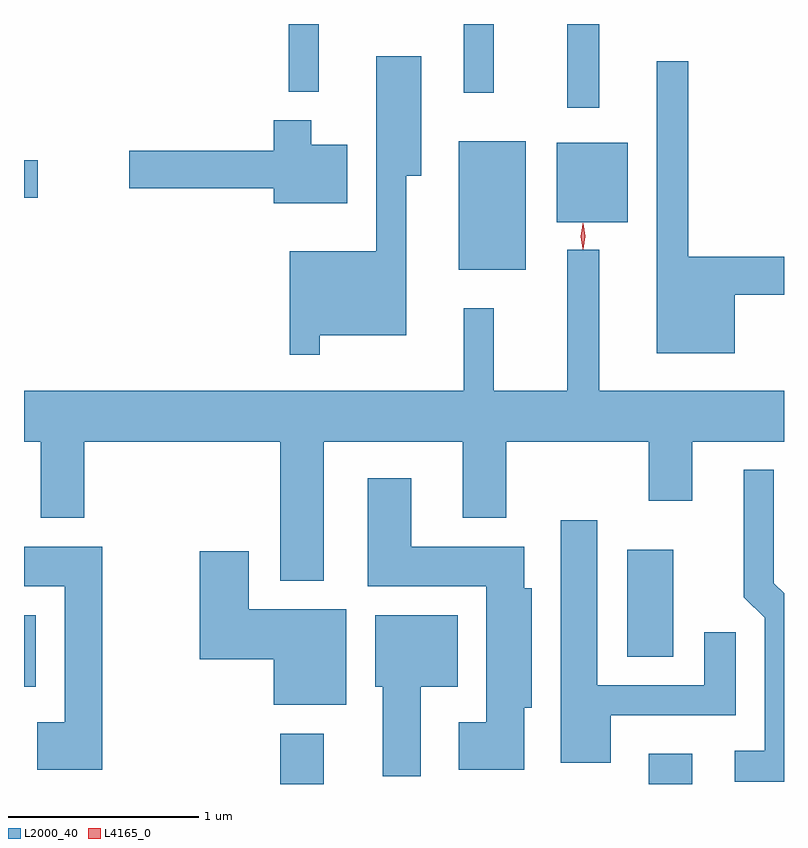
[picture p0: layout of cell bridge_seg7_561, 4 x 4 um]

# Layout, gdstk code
import gdstk
lib = gdstk.Library(unit=1e-6, precision=1e-09)
def R(c, l, rs):  # rectangles x0, y0, x1, y1
    for r in rs: c.add(gdstk.rectangle(r[:2], r[2:], *l))
def P(c, l, *ps):  # polygons
    for p in ps: c.add(gdstk.Polygon(p, *l))
L2000_40 = (2000, 40)
L4165_0 = (4165, 0)

bridge_seg7_561 = lib.new_cell('bridge_seg7_561')
R(bridge_seg7_561, L2000_40, [(980.851,1743.595,981.079,1743.859), (982.791,1743.595,983.019,1743.754), (979.502,1744.106,979.564,1744.484), (982.676,1744.266,982.919,1744.829), (981.791,1746.301,982.144,1746.979), (982.306,1746.551,982.679,1746.969), (979.502,1746.681,979.574,1746.879), (982.361,1747.153,982.529,1747.595), (981.816,1747.233,981.974,1747.595), (980.896,1747.238,981.054,1747.595)])
P(bridge_seg7_561, L2000_40, [(981.059,1745.956),(981.514,1745.956),(981.514,1746.796),(981.594,1746.796),(981.594,1747.424),(981.356,1747.424),(981.356,1746.399),(980.901,1746.399),(980.901,1745.853),(981.059,1745.853)],
  [(983.244,1746.171),(983.502,1746.171),(983.502,1746.369),(982.999,1746.369),(982.999,1747.398),(982.831,1747.398),(982.831,1745.861),(983.244,1745.861)],
  [(981.204,1746.959),(981.014,1746.959),(981.014,1747.089),(980.816,1747.089),(980.816,1746.929),(980.056,1746.929),(980.056,1746.731),(980.816,1746.731),(980.816,1746.651),(981.204,1746.651)],
  [(981.079,1745.396),(981.811,1745.396),(981.811,1744.996),(982.039,1744.996),(982.039,1745.396),(982.791,1745.396),(982.791,1745.086),(983.019,1745.086),(983.019,1745.396),(983.502,1745.396),(983.502,1745.664),(982.529,1745.664),(982.529,1746.408),(982.361,1746.408),(982.361,1745.664),(981.974,1745.664),(981.974,1746.098),(981.816,1746.098),(981.816,1745.664),(979.502,1745.664),(979.502,1745.396),(979.591,1745.396),(979.591,1744.996),(979.819,1744.996),(979.819,1745.396),(980.851,1745.396),(980.851,1744.666),(981.079,1744.666)],
  [(983.502,1744.599),(983.449,1744.652),(983.449,1745.248),(983.291,1745.248),(983.291,1744.579),(983.401,1744.469),(983.401,1743.769),(983.243,1743.769),(983.243,1743.606),(983.502,1743.606)],
  [(982.134,1743.996),(982.174,1743.996),(982.174,1744.624),(982.134,1744.624),(982.134,1744.844),(981.539,1744.844),(981.539,1745.204),(981.311,1745.204),(981.311,1744.636),(981.936,1744.636),(981.936,1743.919),(981.791,1743.919),(981.791,1743.671),(982.134,1743.671)],
  [(982.589,1743.956),(983.249,1743.956),(983.249,1744.393),(983.081,1744.393),(983.081,1744.114),(982.519,1744.114),(982.519,1744.984),(982.326,1744.984),(982.326,1743.706),(982.589,1743.706)],
  [(979.914,1744.844),(979.502,1744.844),(979.502,1744.636),(979.716,1744.636),(979.716,1743.919),(979.571,1743.919),(979.571,1743.671),(979.914,1743.671)],
  [(981.199,1744.514),(980.684,1744.514),(980.684,1744.819),(980.426,1744.819),(980.426,1744.251),(980.816,1744.251),(980.816,1744.011),(981.199,1744.011)],
  [(981.589,1744.106),(981.784,1744.106),(981.784,1744.484),(981.351,1744.484),(981.351,1744.106),(981.391,1744.106),(981.391,1743.636),(981.589,1743.636)])
P(bridge_seg7_561, L4165_0, [(982.445,1746.409),(982.444,1746.41),(982.435,1746.478),(982.444,1746.546),(982.445,1746.546),(982.445,1746.546),(982.455,1746.478),(982.445,1746.41)],
  [(982.442,1746.413),(982.442,1746.413),(982.433,1746.477),(982.443,1746.541),(982.444,1746.542),(982.444,1746.541),(982.453,1746.477),(982.443,1746.413)])

lib.write_gds('bridge_seg7_561.gds')
